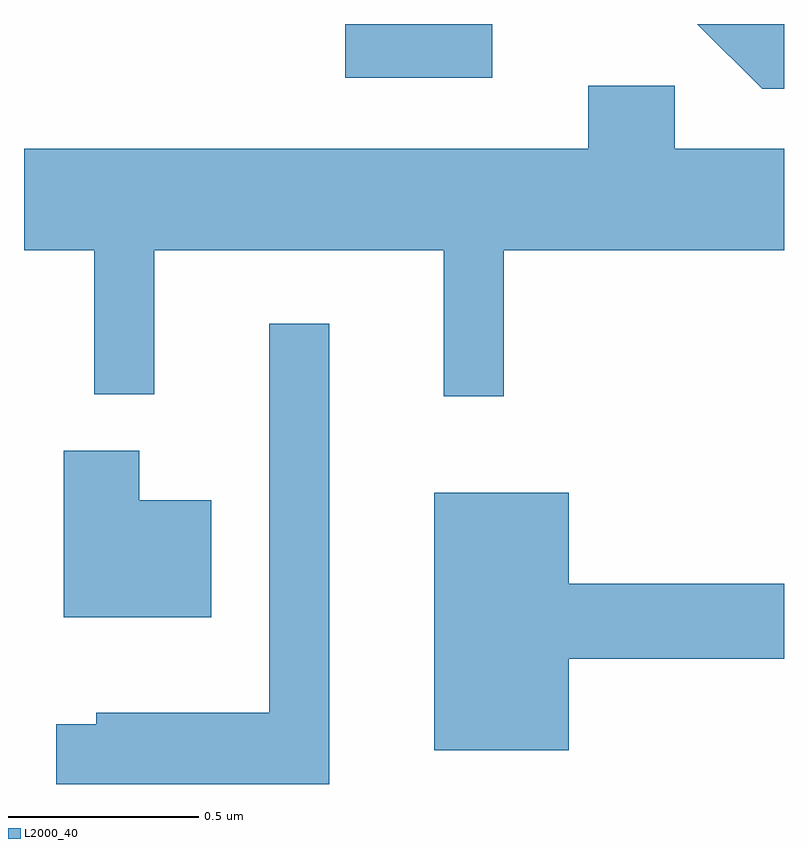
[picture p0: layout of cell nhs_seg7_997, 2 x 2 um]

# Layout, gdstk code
import gdstk
lib = gdstk.Library(unit=1e-6, precision=1e-09)
def R(c, l, rs):  # rectangles x0, y0, x1, y1
    for r in rs: c.add(gdstk.rectangle(r[:2], r[2:], *l))
def P(c, l, *ps):  # polygons
    for p in ps: c.add(gdstk.Polygon(p, *l))
L2000_40 = (2000, 40)

nhs_seg7_997 = lib.new_cell('nhs_seg7_997')
R(nhs_seg7_997, L2000_40, [(193.456,1708.111,193.843,1708.252)])
P(nhs_seg7_997, L2000_40, [(194.611,1708.252),(194.383,1708.252),(194.554,1708.081),(194.611,1708.081)],
  [(193.874,1707.656),(194.611,1707.656),(194.611,1707.924),(194.324,1707.924),(194.324,1708.089),(194.096,1708.089),(194.096,1707.924),(192.611,1707.924),(192.611,1707.656),(192.796,1707.656),(192.796,1707.278),(192.954,1707.278),(192.954,1707.656),(193.716,1707.656),(193.716,1707.273),(193.874,1707.273)],
  [(193.414,1707.463),(193.256,1707.463),(193.256,1706.439),(192.801,1706.439),(192.801,1706.409),(192.696,1706.409),(192.696,1706.252),(193.414,1706.252)],
  [(193.104,1706.999),(192.914,1706.999),(192.914,1707.129),(192.716,1707.129),(192.716,1706.691),(193.104,1706.691)],
  [(194.044,1706.581),(194.611,1706.581),(194.611,1706.779),(194.044,1706.779),(194.044,1707.019),(193.691,1707.019),(193.691,1706.341),(194.044,1706.341)])

lib.write_gds('nhs_seg7_997.gds')
